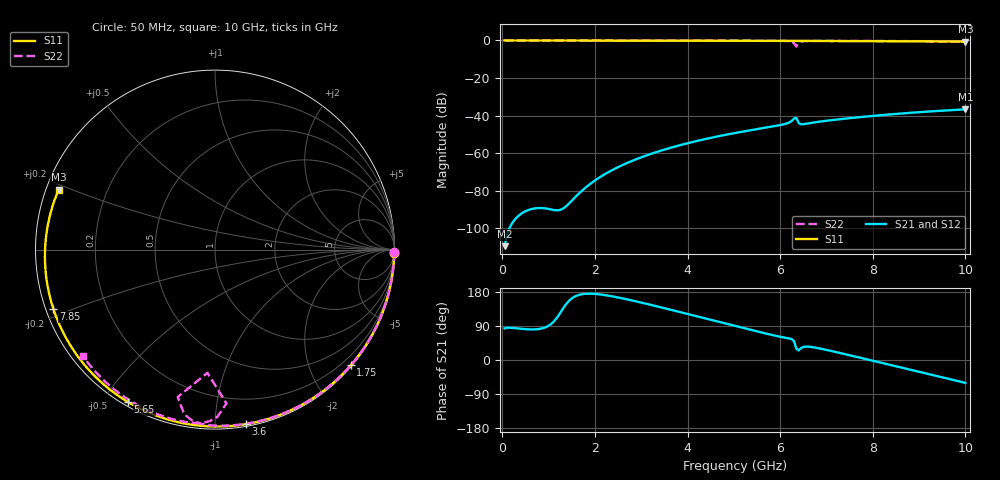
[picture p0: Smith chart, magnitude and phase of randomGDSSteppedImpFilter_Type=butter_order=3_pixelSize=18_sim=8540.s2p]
! freq	dB(S11)	phase(S11)	dB(S12)	phase(S12)
!  dB(S21)	phase(S21)	dB(S22)	phase(S22)
!S-par simulation data
#  GHz  S  DB  R 50
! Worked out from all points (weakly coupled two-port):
!   200 points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, 50 MHz to 10 GHz, reference 50 ohm
!   highest |S21| = -36.70 dB at 10 GHz (marker M1); lowest = -109.5 dB at 50 MHz (marker M2)
!   lowest |S11| = -0.6 dB at 10 GHz (marker M3), VSWR 28.64, Z = 1.81 + j9.26 ohm
!   |S11| at or under -10 dB: nowhere
!   |S22| runs from -3.3 to 0.0 dB; largest |S21 - S12| = 0
!   S11 on the Smith chart (normalised r, x): 50 MHz: 4, -94; 1.75 GHz: 0.02, -2.72; 3.6 GHz: 0.01, -1.19; 5.65 GHz: 0.02, -0.58; 7.85 GHz: 0.02, -0.18; 10 GHz: 0.04, +0.19
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0.05  -0.01 -1.2  -109.53 83.4  -109.53 83.4  -0.01 -0.8
0.85  -0.03 -19.9  -89.24 83.2  -89.24 83.2  -0.02 -13.8
1.7  -0.05 -39.3  -80.45 173.1  -80.45 173.1  -0.03 -27.4
1.75  -0.05 -40.4  -79.35 174.1  -79.35 174.1  -0.04 -28.2
2.05  -0.06 -47.1  -73.72 173.8  -73.72 173.8  -0.04 -32.9
2.45  -0.07 -55.9  -68.06 166.2  -68.06 166.2  -0.05 -39.1
3.4  -0.10 -76.0  -58.87 139.7  -58.87 139.7  -0.07 -53.6
3.6  -0.11 -80.1  -57.38 133.7  -57.38 133.7  -0.08 -56.6
4.3  -0.13 -94.1  -52.96 112.1  -52.96 112.1  -0.09 -66.9
5.05  -0.16 -108.5  -49.18 89.0  -49.18 89.0  -0.12 -77.7
5.65  -0.20 -119.7  -46.60 71.0  -46.60 71.0  -0.15 -86.5
6.2  -0.23 -129.9  -43.63 56.8  -43.63 56.8  -0.37 -97.9
6.25  -0.23 -130.8  -42.86 55.1  -42.86 55.1  -0.61 -100.6
6.3  -0.24 -131.7  -41.55 49.7  -41.55 49.7  -1.44 -104.2
6.35  -0.24 -132.6  -41.21 30.0  -41.21 30.0  -3.25 -93.5
6.4  -0.24 -133.5  -43.92 25.2  -43.92 25.2  -1.31 -85.7
6.45  -0.25 -134.4  -44.65 31.4  -44.65 31.4  -0.60 -89.2
6.7  -0.26 -139.0  -43.77 33.9  -43.77 33.9  -0.24 -97.1
7.85  -0.36 -159.8  -40.52 2.4  -40.52 2.4  -0.27 -113.6
8.35  -0.41 -169.0  -39.42 -12.1  -39.42 -12.1  -0.31 -120.0
9.2  -0.50 174.9  -37.85 -36.9  -37.85 -36.9  -0.39 -130.8
10  -0.61 159.0  -36.70 -60.3  -36.70 -60.3  -0.49 -141.0
